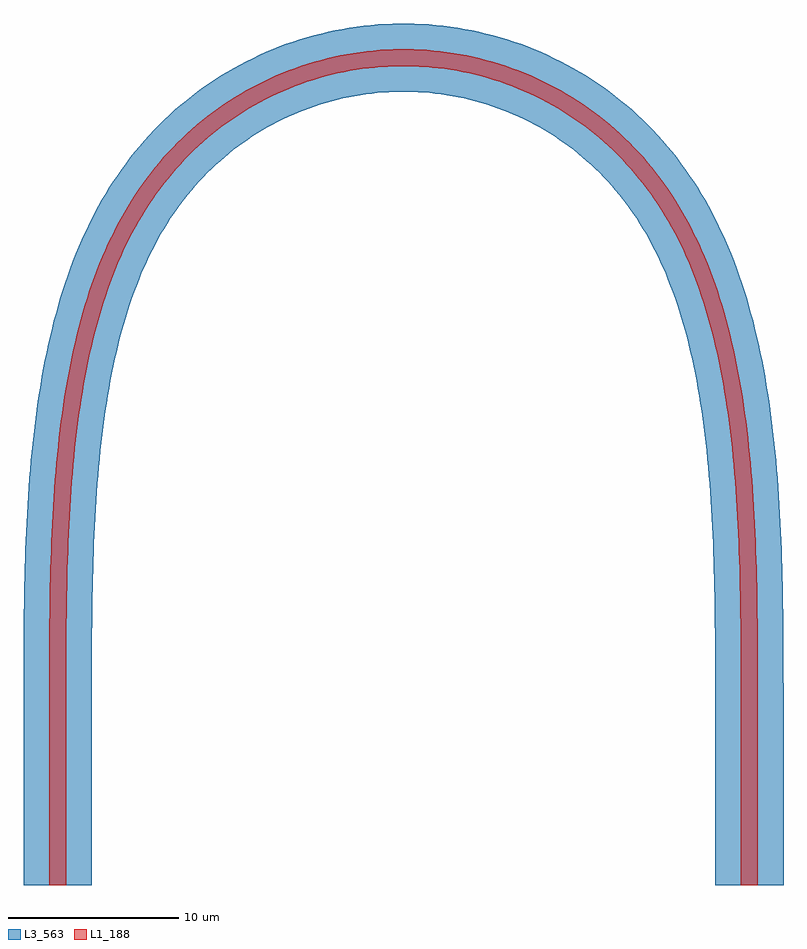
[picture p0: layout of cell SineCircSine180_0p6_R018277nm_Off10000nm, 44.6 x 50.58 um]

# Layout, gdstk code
import gdstk
lib = gdstk.Library(unit=1e-6, precision=1e-09)
L1_188 = (1, 188)
L3_563 = (3, 563)

sinecircsine180_0p6_r018 = lib.new_cell('SineCircSine180_0p6_R018277nm_Off10000nm')
sinecircsine180_0p6_r018.add(gdstk.FlexPath([(-20.3,-30.3),(-20.3,-20.3),(-20.3,-19.759),(-20.3,-19.218),(-20.3,-18.677),(-20.299,-18.136),(-20.298,-17.596),(-20.296,-17.056),(-20.293,-16.518),(-20.29,-15.98),(-20.286,-15.442),(-20.28,-14.906),(-20.274,-14.372),(-20.266,-13.838),(-20.257,-13.306),(-20.246,-12.775),(-20.234,-12.247),(-20.219,-11.719),(-20.203,-11.194),(-20.186,-10.671),(-20.165,-10.149),(-20.143,-9.63),(-20.119,-9.114),(-20.092,-8.599),(-20.062,-8.087),(-20.03,-7.578),(-19.995,-7.072),(-19.957,-6.568),(-19.917,-6.067),(-19.873,-5.57),(-19.826,-5.075),(-19.776,-4.584),(-19.723,-4.096),(-19.666,-3.611),(-19.606,-3.13),(-19.542,-2.653),(-19.474,-2.179),(-19.403,-1.709),(-19.327,-1.243),(-19.248,-0.781),(-19.165,-0.323),(-19.077,0.131),(-18.986,0.58),(-18.89,1.026),(-18.789,1.467),(-18.685,1.903),(-18.575,2.335),(-18.461,2.763),(-18.343,3.186),(-18.22,3.604),(-18.092,4.017),(-17.959,4.425),(-17.821,4.829),(-17.678,5.227),(-17.53,5.621),(-17.377,6.009),(-17.22,6.393),(-17.056,6.771),(-16.888,7.144),(-16.714,7.512),(-16.535,7.874),(-16.351,8.231),(-16.161,8.583),(-15.966,8.929),(-15.765,9.269),(-15.559,9.605),(-15.348,9.934),(-15.131,10.259),(-14.908,10.577),(-14.679,10.89),(-14.446,11.198),(-14.206,11.499),(-13.961,11.795),(-13.71,12.086),(-13.453,12.371),(-13.191,12.65),(-12.923,12.923),(-12.65,13.191),(-12.371,13.453),(-12.086,13.709),(-11.797,13.96),(-11.502,14.204),(-11.202,14.441),(-10.897,14.673),(-10.587,14.898),(-10.273,15.116),(-9.954,15.328),(-9.631,15.533),(-9.303,15.731),(-8.972,15.923),(-8.637,16.107),(-8.297,16.284),(-7.955,16.455),(-7.608,16.618),(-7.258,16.773),(-6.906,16.922),(-6.55,17.063),(-6.191,17.196),(-5.829,17.322),(-5.465,17.44),(-5.099,17.551),(-4.73,17.654),(-4.36,17.749),(-3.987,17.836),(-3.612,17.916),(-3.236,17.988),(-2.859,18.051),(-2.48,18.107),(-2.101,18.155),(-1.72,18.195),(-1.339,18.227),(-0.957,18.251),(-0.574,18.267),(-0.191,18.275),(0.191,18.275),(0.574,18.267),(0.957,18.251),(1.339,18.227),(1.72,18.195),(2.101,18.155),(2.48,18.107),(2.859,18.051),(3.236,17.988),(3.612,17.916),(3.987,17.836),(4.36,17.749),(4.73,17.654),(5.099,17.551),(5.465,17.44),(5.829,17.322),(6.191,17.196),(6.55,17.063),(6.906,16.922),(7.258,16.773),(7.608,16.618),(7.955,16.455),(8.297,16.284),(8.637,16.107),(8.972,15.923),(9.303,15.731),(9.631,15.533),(9.954,15.328),(10.273,15.116),(10.587,14.898),(10.897,14.673),(11.202,14.441),(11.502,14.204),(11.797,13.96),(12.086,13.709),(12.371,13.453),(12.65,13.191),(12.923,12.923),(13.191,12.65),(13.453,12.371),(13.71,12.086),(13.961,11.795),(14.206,11.499),(14.446,11.198),(14.679,10.89),(14.908,10.577),(15.131,10.259),(15.348,9.934),(15.559,9.605),(15.765,9.269),(15.966,8.929),(16.161,8.583),(16.351,8.231),(16.535,7.874),(16.714,7.512),(16.888,7.144),(17.056,6.771),(17.22,6.393),(17.377,6.009),(17.53,5.621),(17.678,5.227),(17.821,4.829),(17.959,4.425),(18.092,4.017),(18.22,3.604),(18.343,3.186),(18.461,2.763),(18.575,2.335),(18.685,1.903),(18.789,1.467),(18.89,1.026),(18.986,0.58),(19.077,0.131),(19.165,-0.323),(19.248,-0.781),(19.327,-1.243),(19.403,-1.709),(19.474,-2.179),(19.542,-2.653),(19.606,-3.13),(19.666,-3.611),(19.723,-4.096),(19.776,-4.584),(19.826,-5.075),(19.873,-5.57),(19.917,-6.067),(19.957,-6.568),(19.995,-7.072),(20.03,-7.578),(20.062,-8.087),(20.092,-8.599),(20.119,-9.114),(20.143,-9.63),(20.165,-10.149),(20.186,-10.671),(20.203,-11.194),(20.219,-11.719),(20.234,-12.247),(20.246,-12.775),(20.257,-13.306),(20.266,-13.838),(20.274,-14.372),(20.28,-14.906),(20.286,-15.442),(20.29,-15.98),(20.293,-16.518),(20.296,-17.056),(20.298,-17.596),(20.299,-18.136),(20.3,-18.677),(20.3,-19.218),(20.3,-19.759),(20.3,-20.3),(20.3,-30.3)], 1, ends="flush", simple_path=True, layer=1, datatype=188))  # L1_188
sinecircsine180_0p6_r018.add(gdstk.FlexPath([(-20.3,-30.3),(-20.3,-20.3),(-20.3,-19.759),(-20.3,-19.218),(-20.3,-18.677),(-20.299,-18.136),(-20.298,-17.596),(-20.296,-17.056),(-20.293,-16.518),(-20.29,-15.98),(-20.286,-15.442),(-20.28,-14.906),(-20.274,-14.372),(-20.266,-13.838),(-20.257,-13.306),(-20.246,-12.775),(-20.234,-12.247),(-20.219,-11.719),(-20.203,-11.194),(-20.186,-10.671),(-20.165,-10.149),(-20.143,-9.63),(-20.119,-9.114),(-20.092,-8.599),(-20.062,-8.087),(-20.03,-7.578),(-19.995,-7.072),(-19.957,-6.568),(-19.917,-6.067),(-19.873,-5.57),(-19.826,-5.075),(-19.776,-4.584),(-19.723,-4.096),(-19.666,-3.611),(-19.606,-3.13),(-19.542,-2.653),(-19.474,-2.179),(-19.403,-1.709),(-19.327,-1.243),(-19.248,-0.781),(-19.165,-0.323),(-19.077,0.131),(-18.986,0.58),(-18.89,1.026),(-18.789,1.467),(-18.685,1.903),(-18.575,2.335),(-18.461,2.763),(-18.343,3.186),(-18.22,3.604),(-18.092,4.017),(-17.959,4.425),(-17.821,4.829),(-17.678,5.227),(-17.53,5.621),(-17.377,6.009),(-17.22,6.393),(-17.056,6.771),(-16.888,7.144),(-16.714,7.512),(-16.535,7.874),(-16.351,8.231),(-16.161,8.583),(-15.966,8.929),(-15.765,9.269),(-15.559,9.605),(-15.348,9.934),(-15.131,10.259),(-14.908,10.577),(-14.679,10.89),(-14.446,11.198),(-14.206,11.499),(-13.961,11.795),(-13.71,12.086),(-13.453,12.371),(-13.191,12.65),(-12.923,12.923),(-12.65,13.191),(-12.371,13.453),(-12.086,13.709),(-11.797,13.96),(-11.502,14.204),(-11.202,14.441),(-10.897,14.673),(-10.587,14.898),(-10.273,15.116),(-9.954,15.328),(-9.631,15.533),(-9.303,15.731),(-8.972,15.923),(-8.637,16.107),(-8.297,16.284),(-7.955,16.455),(-7.608,16.618),(-7.258,16.773),(-6.906,16.922),(-6.55,17.063),(-6.191,17.196),(-5.829,17.322),(-5.465,17.44),(-5.099,17.551),(-4.73,17.654),(-4.36,17.749),(-3.987,17.836),(-3.612,17.916),(-3.236,17.988),(-2.859,18.051),(-2.48,18.107),(-2.101,18.155),(-1.72,18.195),(-1.339,18.227),(-0.957,18.251),(-0.574,18.267),(-0.191,18.275),(0.191,18.275),(0.574,18.267),(0.957,18.251),(1.339,18.227),(1.72,18.195),(2.101,18.155),(2.48,18.107),(2.859,18.051),(3.236,17.988),(3.612,17.916),(3.987,17.836),(4.36,17.749),(4.73,17.654),(5.099,17.551),(5.465,17.44),(5.829,17.322),(6.191,17.196),(6.55,17.063),(6.906,16.922),(7.258,16.773),(7.608,16.618),(7.955,16.455),(8.297,16.284),(8.637,16.107),(8.972,15.923),(9.303,15.731),(9.631,15.533),(9.954,15.328),(10.273,15.116),(10.587,14.898),(10.897,14.673),(11.202,14.441),(11.502,14.204),(11.797,13.96),(12.086,13.709),(12.371,13.453),(12.65,13.191),(12.923,12.923),(13.191,12.65),(13.453,12.371),(13.71,12.086),(13.961,11.795),(14.206,11.499),(14.446,11.198),(14.679,10.89),(14.908,10.577),(15.131,10.259),(15.348,9.934),(15.559,9.605),(15.765,9.269),(15.966,8.929),(16.161,8.583),(16.351,8.231),(16.535,7.874),(16.714,7.512),(16.888,7.144),(17.056,6.771),(17.22,6.393),(17.377,6.009),(17.53,5.621),(17.678,5.227),(17.821,4.829),(17.959,4.425),(18.092,4.017),(18.22,3.604),(18.343,3.186),(18.461,2.763),(18.575,2.335),(18.685,1.903),(18.789,1.467),(18.89,1.026),(18.986,0.58),(19.077,0.131),(19.165,-0.323),(19.248,-0.781),(19.327,-1.243),(19.403,-1.709),(19.474,-2.179),(19.542,-2.653),(19.606,-3.13),(19.666,-3.611),(19.723,-4.096),(19.776,-4.584),(19.826,-5.075),(19.873,-5.57),(19.917,-6.067),(19.957,-6.568),(19.995,-7.072),(20.03,-7.578),(20.062,-8.087),(20.092,-8.599),(20.119,-9.114),(20.143,-9.63),(20.165,-10.149),(20.186,-10.671),(20.203,-11.194),(20.219,-11.719),(20.234,-12.247),(20.246,-12.775),(20.257,-13.306),(20.266,-13.838),(20.274,-14.372),(20.28,-14.906),(20.286,-15.442),(20.29,-15.98),(20.293,-16.518),(20.296,-17.056),(20.298,-17.596),(20.299,-18.136),(20.3,-18.677),(20.3,-19.218),(20.3,-19.759),(20.3,-20.3),(20.3,-30.3)], 4, ends="flush", simple_path=True, layer=3, datatype=563))  # L3_563

lib.write_gds('SineCircSine180_0p6_R018277nm_Off10000nm.gds')
